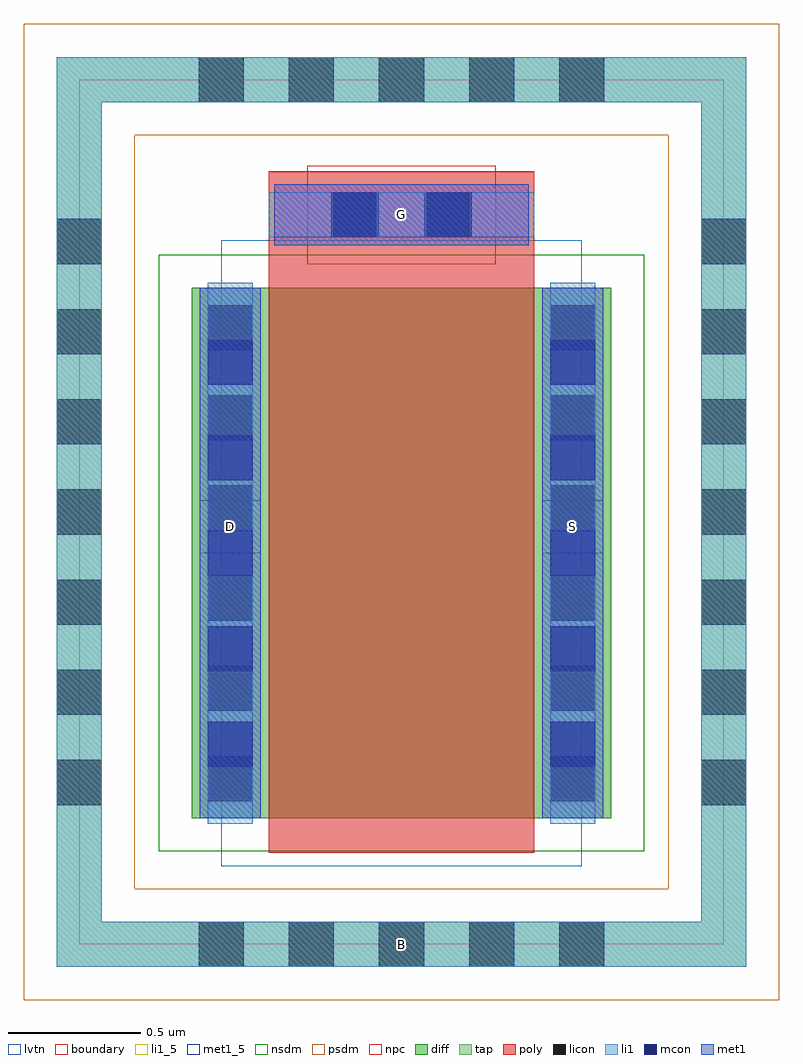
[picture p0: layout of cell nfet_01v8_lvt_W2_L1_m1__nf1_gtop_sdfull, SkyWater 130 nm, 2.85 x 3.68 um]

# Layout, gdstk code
import gdstk
lib = gdstk.Library(unit=1e-6, precision=1e-09)
def R(c, l, rs):  # rectangles x0, y0, x1, y1
    for r in rs: c.add(gdstk.rectangle(r[:2], r[2:], *l))
def A(c, l, x, y, w, h, nx, ny, dx, dy):  # array of equal rectangles
    R(c, l, [(x+i*dx, y+j*dy, x+i*dx+w, y+j*dy+h) for i in range(nx) for j in range(ny)])
diff = (65, 20)
tap = (65, 44)
poly = (66, 20)
licon = (66, 44)
li1_5 = (67, 5)
li1 = (67, 20)
mcon = (67, 44)
met1_5 = (68, 5)
met1 = (68, 20)
nsdm = (93, 44)
psdm = (94, 20)
npc = (95, 20)
lvtn = (125, 44)
boundary = (235, 4)

sky130_fd_pr__nfet_01v8_ = lib.new_cell('sky130_fd_pr__nfet_01v8_lvt_C3DN4S')
R(sky130_fd_pr__nfet_01v8_, diff, [(-0.79,-1.155,0.79,0.845)])
R(sky130_fd_pr__nfet_01v8_, tap, [(-1.3,-1.715,1.3,-1.545), (-1.3,-1.545,-1.13,1.545), (1.13,-1.545,1.3,1.545), (-1.3,1.545,1.3,1.715)])
R(sky130_fd_pr__nfet_01v8_, poly, [(-0.5,-1.285,0.5,1.285)])
A(sky130_fd_pr__nfet_01v8_, licon, -0.765, -1.715, 0.17, 0.17, 5, 2, 0.34, 3.26)
A(sky130_fd_pr__nfet_01v8_, licon, -1.3, -1.105, 0.17, 0.17, 1, 7, 0, 0.34)
A(sky130_fd_pr__nfet_01v8_, licon, 1.13, -1.105, 0.17, 0.17, 1, 7, 0, 0.34)
A(sky130_fd_pr__nfet_01v8_, licon, -0.73, -1.09, 0.17, 0.17, 1, 6, 0, 0.34)
A(sky130_fd_pr__nfet_01v8_, licon, 0.56, -1.09, 0.17, 0.17, 1, 6, 0, 0.34)
R(sky130_fd_pr__nfet_01v8_, licon, [(-0.255,1.035,-0.085,1.205), (0.085,1.035,0.255,1.205)])
R(sky130_fd_pr__nfet_01v8_, li1, [(-1.3,-1.715,1.3,-1.545), (-1.3,-1.545,-1.13,1.545), (1.13,-1.545,1.3,1.545), (-0.73,-1.175,-0.56,0.865), (0.56,-1.175,0.73,0.865), (-0.5,1.035,0.5,1.205), (-1.3,1.545,1.3,1.715)])
A(sky130_fd_pr__nfet_01v8_, mcon, -0.73, -0.96, 0.17, 0.17, 1, 5, 0, 0.36)
A(sky130_fd_pr__nfet_01v8_, mcon, 0.56, -0.96, 0.17, 0.17, 1, 5, 0, 0.36)
R(sky130_fd_pr__nfet_01v8_, mcon, [(-0.265,1.035,-0.095,1.205), (0.095,1.035,0.265,1.205)])
R(sky130_fd_pr__nfet_01v8_, met1, [(-0.76,-1.155,-0.53,0.845), (0.53,-1.155,0.76,0.845), (-0.48,1.005,0.48,1.235)])
R(sky130_fd_pr__nfet_01v8_, nsdm, [(-0.915,-1.28,0.915,0.97)])
R(sky130_fd_pr__nfet_01v8_, psdm, [(-1.425,-1.84,1.425,-1.42), (-1.425,-1.42,-1.005,1.42), (1.005,-1.42,1.425,1.42), (-1.425,1.42,1.425,1.84)])
R(sky130_fd_pr__nfet_01v8_, npc, [(-0.355,0.935,0.355,1.305)])
R(sky130_fd_pr__nfet_01v8_, lvtn, [(-0.68,-1.335,0.68,1.025)])
R(sky130_fd_pr__nfet_01v8_, boundary, [(-1.215,-1.63,1.215,1.63)])
sky130_fd_pr__nfet_01v8_.add(gdstk.Label('B', (0,-1.63), layer=67, texttype=5))
sky130_fd_pr__nfet_01v8_.add(gdstk.Label('D', (-0.645,-0.155), layer=67, texttype=5))
sky130_fd_pr__nfet_01v8_.add(gdstk.Label('S', (0.645,-0.155), layer=67, texttype=5))
sky130_fd_pr__nfet_01v8_.add(gdstk.Label('G', (0,1.12), layer=67, texttype=5))

nfet_01v8_lvt_w2_l1_m1__ = lib.new_cell('nfet_01v8_lvt_W2_L1_m1__nf1_gtop_sdfull')
R(nfet_01v8_lvt_w2_l1_m1__, li1_5, [(1.13,-0.085,1.3,0.085)])
R(nfet_01v8_lvt_w2_l1_m1__, li1, [(1.13,-0.085,1.3,0.085)])
R(nfet_01v8_lvt_w2_l1_m1__, met1_5, [(0.455,1.475,0.685,1.675), (1.745,1.475,1.975,1.675), (0.735,2.635,1.695,2.865)])
R(nfet_01v8_lvt_w2_l1_m1__, met1, [(0.455,1.475,0.685,1.675), (1.745,1.475,1.975,1.675), (0.735,2.635,1.695,2.865)])
nfet_01v8_lvt_w2_l1_m1__.add(gdstk.Reference(sky130_fd_pr__nfet_01v8_, (1.215,1.63)))
nfet_01v8_lvt_w2_l1_m1__.add(gdstk.Label('D', (0.57,1.575), layer=68, texttype=5))
nfet_01v8_lvt_w2_l1_m1__.add(gdstk.Label('S', (1.86,1.575), layer=68, texttype=5))
nfet_01v8_lvt_w2_l1_m1__.add(gdstk.Label('G', (1.215,2.75), layer=68, texttype=5))
nfet_01v8_lvt_w2_l1_m1__.add(gdstk.Label('B', (1.215,0), layer=67, texttype=5))

lib.write_gds('nfet_01v8_lvt_W2_L1_m1__nf1_gtop_sdfull.gds')
